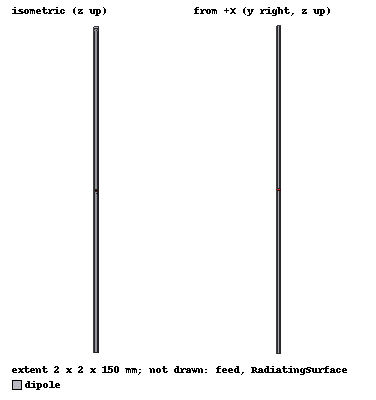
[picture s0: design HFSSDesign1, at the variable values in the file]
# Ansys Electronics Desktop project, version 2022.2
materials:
  vacuum: permittivity=1
  pec: conductivity=1e+30

design HFSSDesign1 (HFSS, DrivenModal, model units mm)
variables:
  rad = 1mm
  ht = 150mm
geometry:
  dipole [pec] = cylinder(axis=Z, base_centre=(0mm, 0mm, -75mm), radius=rad, height=ht)
  feed [vacuum] = cylinder(axis=Z, base_centre=(0mm, 0mm, -0.5mm), radius=1mm, height=1mm)
  feed_1 = feed.copy()
  dipole.subtract(feed_1)
  feed_Section1 = feed.section(plane=YZ)
  RadiatingSurface [vacuum] = region(absolute_offset=100mm on all sides)
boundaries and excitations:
  Open1: Radiation Objects=RadiatingSurface
  1: Lumped Port Objects=feed_Section1 Modes{Mode1{IntLine{(0, 0, -0.5) -> (0, 0, 0.5)} CharImp=Zpi RenormImp=50ohm}} Impedance=50ohm
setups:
  Setup1: HfssDriven Frequency=1GHz MaxDeltaS=0.02 MaximumPasses=15 MinimumPasses=1 MinimumConvergedPasses=1 PercentRefinement=30 BasisOrder=1 PortAccuracy=2 DrivenSolverType="Direct Solver"
    sweep Sweep: 700MHz to 1.3GHz step 1MHz; Type=Fast SaveFields
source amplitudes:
  1:1: 1W 0deg
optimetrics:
  ParametricSetup1: Parametric Sim._Setups=[Setup1]
    sweep rad: LIN 0.8mm 1.2mm 0.1mm
    sweep ht: LIN 140mm 160mm 5mm
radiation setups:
  3D: Infinite Sphere Theta=0deg..180deg step 2deg Phi=-180deg..180deg step 2deg
  Elevation: Infinite Sphere Theta=-180deg..180deg step 1deg Phi=0deg..90deg step 90deg
  Azimuth: Infinite Sphere Theta=90deg..90deg step 0deg Phi=-180deg..180deg step 1deg
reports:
  S Parameter Plot 1: dB(S(1,1)) vs Freq on Setup1 : Sweep [rad=all ht=all]
  VSWR Plot 1: VSWR(1) vs Freq on Setup1 : Sweep [rad=all ht=all]
  S Parameter Plot 2: dB(S(1,1)) vs Freq, rad on Setup1 : Sweep [ht=140mm]
  Gain Plot 1: GainTotal vs Phi, Theta on Setup1 : LastAdaptive, 3D [Freq=1GHz rad=0.8mm ht=140mm]
  Gain Plot 2: GainTotal vs Phi, Theta on Setup1 : LastAdaptive, 3D [Freq=1GHz rad=0.8mm ht=140mm]
  Gain Plot 3: GainTotal vs Phi, Theta on Setup1 : LastAdaptive, 3D [Freq=1GHz rad=0.8mm ht=140mm]
